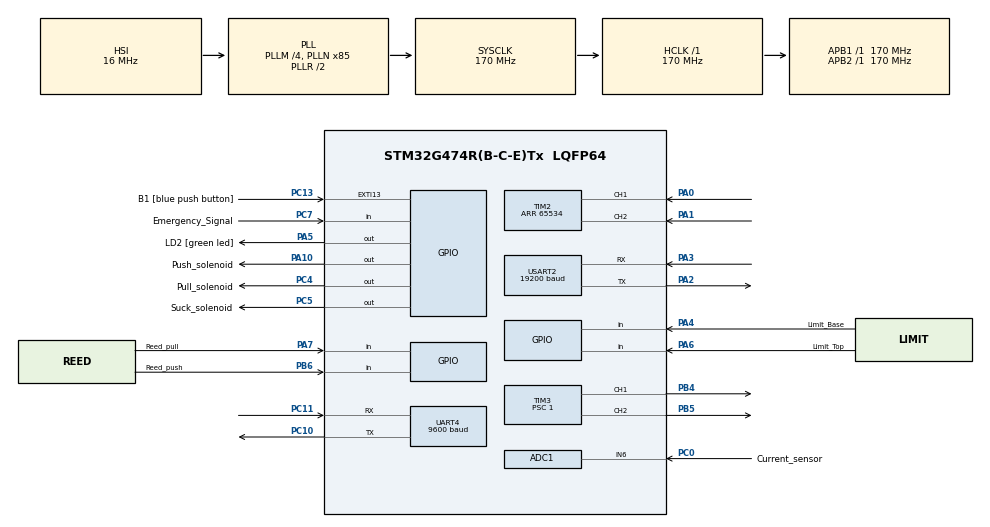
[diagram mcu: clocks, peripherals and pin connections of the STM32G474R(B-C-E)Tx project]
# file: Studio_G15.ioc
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ADC1.Channel-0\#ChannelRegularConversion=ADC_CHANNEL_6
ADC1.NbrOfConversionFlag=1
ADC1.OffsetNumber-0\#ChannelRegularConversion=ADC_OFFSET_NONE
ADC1.Rank-0\#ChannelRegularConversion=1
ADC1.SamplingTime-0\#ChannelRegularConversion=ADC_SAMPLETIME_2CYCLES_5
ADC1.master=1
ARM.CMSIS-DSP.1.15.0.CMSISJjDSP=Source
ARM.CMSIS.6.0.0.CMSISJjCORE=true
Dma.Request0=USART2_TX
Dma.Request1=USART2_RX
Dma.USART2_RX.1.Direction=DMA_PERIPH_TO_MEMORY
Dma.USART2_RX.1.EventEnable=DISABLE
Dma.USART2_RX.1.Instance=DMA1_Channel2
Dma.USART2_RX.1.MemDataAlignment=DMA_MDATAALIGN_BYTE
Dma.USART2_RX.1.MemInc=DMA_MINC_ENABLE
Dma.USART2_RX.1.Mode=DMA_NORMAL
Dma.USART2_RX.1.PeriphDataAlignment=DMA_PDATAALIGN_BYTE
Dma.USART2_RX.1.PeriphInc=DMA_PINC_DISABLE
Dma.USART2_RX.1.Polarity=HAL_DMAMUX_REQ_GEN_RISING
Dma.USART2_RX.1.Priority=DMA_PRIORITY_LOW
Dma.USART2_RX.1.RequestNumber=1
Dma.USART2_RX.1.SignalID=NONE
Dma.USART2_RX.1.SyncEnable=DISABLE
Dma.USART2_RX.1.SyncPolarity=HAL_DMAMUX_SYNC_NO_EVENT
Dma.USART2_RX.1.SyncRequestNumber=1
Dma.USART2_RX.1.SyncSignalID=NONE
Dma.USART2_TX.0.Direction=DMA_MEMORY_TO_PERIPH
Dma.USART2_TX.0.EventEnable=DISABLE
Dma.USART2_TX.0.Instance=DMA1_Channel1
Dma.USART2_TX.0.MemDataAlignment=DMA_MDATAALIGN_BYTE
Dma.USART2_TX.0.MemInc=DMA_MINC_ENABLE
Dma.USART2_TX.0.Mode=DMA_NORMAL
Dma.USART2_TX.0.PeriphDataAlignment=DMA_PDATAALIGN_BYTE
Dma.USART2_TX.0.PeriphInc=DMA_PINC_DISABLE
Dma.USART2_TX.0.Polarity=HAL_DMAMUX_REQ_GEN_RISING
Dma.USART2_TX.0.Priority=DMA_PRIORITY_LOW
Dma.USART2_TX.0.RequestNumber=1
Dma.USART2_TX.0.SignalID=NONE
Dma.USART2_TX.0.SyncEnable=DISABLE
Dma.USART2_TX.0.SyncPolarity=HAL_DMAMUX_SYNC_NO_EVENT
Dma.USART2_TX.0.SyncRequestNumber=1
Dma.USART2_TX.0.SyncSignalID=NONE
Mcu.Family=STM32G4
Mcu.Name=STM32G474R(B-C-E)Tx
Mcu.Package=LQFP64
NVIC.DMA1_Channel1_IRQn=true\:0\:0\:false\:false\:true\:false\:true\:true
NVIC.DMA1_Channel2_IRQn=true\:0\:0\:false\:false\:true\:false\:true\:true
NVIC.EXTI15_10_IRQn=true\:0\:0\:false\:false\:true\:true\:true\:true
NVIC.PriorityGroup=NVIC_PRIORITYGROUP_4
NVIC.TIM1_UP_TIM16_IRQn=true\:0\:0\:false\:false\:true\:true\:true\:true
NVIC.TIM4_IRQn=true\:0\:0\:false\:false\:true\:true\:true\:true
NVIC.TIM5_IRQn=true\:0\:0\:false\:false\:true\:true\:true\:true
NVIC.USART2_IRQn=true\:0\:0\:false\:false\:true\:true\:true\:true
PA0.Signal=S_TIM2_CH1
PA1.Signal=S_TIM2_CH2
PA10.GPIO_Label=Push_solenoid
PA10.Signal=GPIO_Output
PA13.GPIO_Label=T_SWDIO
PA13.Mode=Serial_Wire
PA13.Signal=SYS_JTMS-SWDIO
PA14.GPIO_Label=T_SWCLK
PA14.Mode=Serial_Wire
PA14.Signal=SYS_JTCK-SWCLK
PA2.Mode=Asynchronous
PA2.Signal=USART2_TX
PA3.Mode=Asynchronous
PA3.Signal=USART2_RX
PA4.GPIO_Label=Limit_Base
PA4.GPIO_PuPd=GPIO_PULLDOWN
PA4.Signal=GPIO_Input
PA5.GPIO_Label=LD2 [green led]
PA5.Signal=GPIO_Output
PA6.GPIO_Label=Limit_Top
PA6.GPIO_PuPd=GPIO_PULLDOWN
PA6.Signal=GPIO_Input
PA7.GPIO_Label=Reed_pull
PA7.GPIO_PuPd=GPIO_PULLDOWN
PA7.Signal=GPIO_Input
PB3.GPIO_Label=T_SWO
PB3.Signal=SYS_JTDO-SWO
PB4.Signal=S_TIM3_CH1
PB5.Signal=S_TIM3_CH2
PB6.GPIO_Label=Reed_push
PB6.GPIO_PuPd=GPIO_PULLDOWN
PB6.Signal=GPIO_Input
PC0.GPIO_Label=Current_sensor
PC0.Mode=IN6-Single-Ended
PC0.Signal=ADC1_IN6
PC10.Mode=Asynchronous
PC10.Signal=UART4_TX
PC11.Mode=Asynchronous
PC11.Signal=UART4_RX
PC13.GPIO_Label=B1 [blue push button]
PC13.Signal=GPXTI13
PC14-OSC32_IN.Mode=LSE-External-Oscillator
PC14-OSC32_IN.Signal=RCC_OSC32_IN
PC15-OSC32_OUT.Mode=LSE-External-Oscillator
PC15-OSC32_OUT.Signal=RCC_OSC32_OUT
PC4.GPIO_Label=Pull_solenoid
PC4.Signal=GPIO_Output
PC5.GPIO_Label=Suck_solenoid
PC5.Signal=GPIO_Output
PC7.GPIO_Label=Emergency_Signal
PC7.GPIO_PuPd=GPIO_PULLDOWN
PC7.Signal=GPIO_Input
PF0-OSC_IN.Mode=HSE-External-Oscillator
PF0-OSC_IN.Signal=RCC_OSC_IN
PF1-OSC_OUT.Mode=HSE-External-Oscillator
PF1-OSC_OUT.Signal=RCC_OSC_OUT
ProjectManager.HeapSize=0x200
ProjectManager.StackSize=0x400
ProjectManager.TargetToolchain=STM32CubeIDE
RCC.ADC12Freq_Value=170000000
RCC.ADC345Freq_Value=170000000
RCC.AHBFreq_Value=170000000
RCC.APB1Freq_Value=170000000
RCC.APB1TimFreq_Value=170000000
RCC.APB2Freq_Value=170000000
RCC.APB2TimFreq_Value=170000000
RCC.CortexFreq_Value=170000000
RCC.EXTERNAL_CLOCK_VALUE=12288000
RCC.HCLKFreq_Value=170000000
RCC.HSE_VALUE=24000000
RCC.HSI48_VALUE=48000000
RCC.HSI_VALUE=16000000
RCC.PLLM=RCC_PLLM_DIV4
RCC.PLLN=85
RCC.RTCClockSelection=RCC_RTCCLKSOURCE_LSE
RCC.SYSCLKFreq_VALUE=170000000
RCC.SYSCLKSource=RCC_SYSCLKSOURCE_PLLCLK
RCC.USBFreq_Value=170000000
RCC.VCOOutputFreq_Value=340000000
SH.S_TIM2_CH1.0=TIM2_CH1,Encoder_Interface
SH.S_TIM2_CH2.0=TIM2_CH2,Encoder_Interface
SH.S_TIM3_CH1.0=TIM3_CH1,PWM Generation1 CH1
SH.S_TIM3_CH2.0=TIM3_CH2,PWM Generation2 CH2
TIM16.PeriodNoDither=1145
TIM16.Prescaler=169
TIM2.EncoderMode=TIM_ENCODERMODE_TI12
TIM2.IC1Filter=3
TIM2.IC2Filter=3
TIM2.PeriodNoDither=65534
TIM3.Channel-PWM\ Generation1\ CH1=TIM_CHANNEL_1
TIM3.Channel-PWM\ Generation2\ CH2=TIM_CHANNEL_2
TIM3.PeriodNoDither=42499
TIM3.Prescaler=1
TIM4.PeriodNoDither=50
TIM4.Prescaler=169
TIM5.Prescaler=169
UART4.BaudRate=9600
UART4.OneBitSampling=UART_ONE_BIT_SAMPLE_ENABLE
UART4.RXFIFOThreshold=RXFIFO_THRESHOLD_FULL
USART2.BaudRate=19200
USART2.Parity=PARITY_EVEN
USART2.VirtualMode-Asynchronous=VM_ASYNC
USART2.WordLength=WORDLENGTH_9B
VP_ARM.CMSIS-DSP_VS_CMSISJjDSP_1.15.0_1.15.0.Mode=CMSISJjDSP
VP_ARM.CMSIS_VS_CMSISJjCORE_6.0.0_6.0.0.Mode=CMSISJjCORE
VP_SYS_VS_DBSignals.Mode=DisableDeadBatterySignals
VP_TIM16_VS_ClockSourceINT.Mode=Enable_Timer
VP_TIM16_VS_OPM.Mode=OPM_bit
VP_TIM3_VS_ClockSourceINT.Mode=Internal
VP_TIM4_VS_ClockSourceINT.Mode=Internal
VP_TIM5_VS_ClockSourceINT.Mode=Internal
board=NUCLEO-G474RE

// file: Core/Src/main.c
/* USER CODE BEGIN Header */
/**
  ******************************************************************************
  * @file           : main.c
  * @brief          : Main program body
  ******************************************************************************
  * @attention
  *
  * Copyright (c) 2024 STMicroelectronics.
  * All rights reserved.
  *
  * This software is licensed under terms that can be found in the LICENSE file
  * in the root directory of this software component.
  * If no LICENSE file comes with this software, it is provided AS-IS.
  *
  ******************************************************************************
  */
/* USER CODE END Header */
#include "main.h"

/* USER CODE BEGIN Includes */
#include "arm_math.h"
#include "ModBusRTU.h"
#include "BaseSystem.h"
#include "Kalman.h"
#include "Encoder.h"
#include "Motor.h"
#include "PID_controller.h"
#include "Trapezoidal.h"
#include "PS2.h"

/* USER CODE END Includes */

ADC_HandleTypeDef hadc1;

TIM_HandleTypeDef htim2;
TIM_HandleTypeDef htim3;
TIM_HandleTypeDef htim4;
TIM_HandleTypeDef htim5;
TIM_HandleTypeDef htim16;

UART_HandleTypeDef huart4;
UART_HandleTypeDef huart2;
DMA_HandleTypeDef hdma_usart2_tx;
DMA_HandleTypeDef hdma_usart2_rx;

/* USER CODE BEGIN PV */

// Define some library variable
MOTOR MT;
Trap_Traj Traj;
AMT_Encoder AMT;
PS2_typedef ps2;
PID_struct PID_pos;
PID_struct PID_velo;
BaseStruct base;
ModbusHandleTypedef hmodbus;
KalmanState filtered_velo;
KalmanState filtered_accel;

// Define some variables
extern float temp_pos;								// Reference Position for PID & Trajectory
extern int temp_home;								// State Set Home
extern int temp_cnt;								// State count in base system
extern int fuCount;									// RunJog shelves counter
int emer = 0;										// Emergency state float
uint64_t _micros;									// Microsecond current time
u16u8_t registerFrame[200];							// ModBus Weird thing
float elapsedTime;									// Trajectory Time Reference

// Function here!
uint64_t micros();
void HAL_TIM_PeriodElapsedCallback(TIM_HandleTypeDef *htim);

/* USER CODE END PV */

void SystemClock_Config(void);
static void MX_GPIO_Init(void);
static void MX_DMA_Init(void);
static void MX_TIM2_Init(void);
static void MX_TIM3_Init(void);
static void MX_TIM5_Init(void);
static void MX_UART4_Init(void);
static void MX_TIM4_Init(void);
static void MX_USART2_UART_Init(void);
static void MX_TIM16_Init(void);
static void MX_ADC1_Init(void);

int main(void)
{

  /* MCU Configuration--------------------------------------------------------*/

  /* Reset of all peripherals, Initializes the Flash interface and the Systick. */
  HAL_Init();

  /* Configure the system clock */
  SystemClock_Config();

  /* Initialize all configured peripherals */
  MX_GPIO_Init();
  MX_DMA_Init();
  MX_TIM2_Init();
  MX_TIM3_Init();
  MX_TIM5_Init();
  MX_UART4_Init();
  MX_TIM4_Init();
  MX_USART2_UART_Init();
  MX_TIM16_Init();
  MX_ADC1_Init();
  /* USER CODE BEGIN 2 */
  HAL_TIM_Base_Start(&htim2);								// AMT Encoder
  HAL_TIM_Base_Start(&htim3);								// Motor Output compare
  HAL_TIM_Base_Start_IT(&htim4);							// System Clock control
  HAL_TIM_Base_Start_IT(&htim5);							// Microsecond Function

  // Velocity 450 mm/s
//  float PID_pos_K[3] = {17 ,0.002, 0.0001};
//  float PID_velo_K[3] = {9 ,0.00002, 0.0};

// Initialize ASRS
	AMT_encoder_init(&AMT, &htim2);
	MOTOR_init(&MT, &htim3,TIM_CHANNEL_2, TIM_CHANNEL_1);
	hmodbus.huart = &huart2;
	hmodbus.htim = &htim16;
	hmodbus.slaveAddress = 0x15;
	hmodbus.RegisterSize =200;
	Modbus_init(&hmodbus, registerFrame);
	//--------------------------Initialize Controller Parameter------------------------------------//

	// System Max Velocity and Max Acceleration
	Traject_init(&Traj, 900 , 1500);

	// Constant P I D for Position & Velocity Control
//	float PID_pos_K[3] = {6.5 ,0.0000001, 0.00006};
	float PID_pos_K[3] = {12 ,0.00001, 0.0008};
	float PID_velo_K[3] = {6.5 ,0.0010, 0.00005};
//	float PID_pos_K[3] = {7 ,0.0002, 0.001};
//	float PID_velo_K[3] = {7.0 ,0.0022, 0.0001};
	PID_controller_init(&PID_pos,PID_pos_K[0],PID_pos_K[1],PID_pos_K[2]);
	PID_controller_init(&PID_velo,PID_velo_K[0],PID_velo_K[1],PID_velo_K[3]);

	// Constant Q R for Kalman Filter in Velocity and Acceleration
	kalman_filter_init(&filtered_velo, 0.005,0.99);
	kalman_filter_init(&filtered_accel, 0.002,0.2);

  /* USER CODE END 2 */

  /* Infinite loop */
  while (1)
  {

    /* USER CODE BEGIN 3 */

	  // HeartBeat function 5 Hz
	  static uint64_t timestamps =0;
	  if(HAL_GetTick() > timestamps && emer == 0 ){
		  timestamps =HAL_GetTick() + 100;		//ms
	  	  Heartbeat();
	  }

	  // Feedback to BaseSystem
	  Vacuum();
	  GripperMovement();
	  Modbus_Protocal_Worker();
	  Routine();

	  // Uart Receive Joystick
	  HAL_UART_Receive(&huart4,ps2.ps2RX, 10 ,10);

	  if (base.BaseStatus == 1 && emer == 0){
		  // Set shelve mode
		  SetShelves();
	  }

	  // Emergency Button was triggered
	  emer = (HAL_GPIO_ReadPin(GPIOC, GPIO_PIN_7) == GPIO_PIN_SET) ? 1 : emer;
  }
  /* USER CODE END 3 */
}

void SystemClock_Config(void)
{
  RCC_OscInitTypeDef RCC_OscInitStruct = {0};
  RCC_ClkInitTypeDef RCC_ClkInitStruct = {0};

  /** Configure the main internal regulator output voltage
  */
  HAL_PWREx_ControlVoltageScaling(PWR_REGULATOR_VOLTAGE_SCALE1_BOOST);

  /** Initializes the RCC Oscillators according to the specified parameters
  * in the RCC_OscInitTypeDef structure.
  */
  RCC_OscInitStruct.OscillatorType = RCC_OSCILLATORTYPE_HSI;
  RCC_OscInitStruct.HSIState = RCC_HSI_ON;
  RCC_OscInitStruct.HSICalibrationValue = RCC_HSICALIBRATION_DEFAULT;
  RCC_OscInitStruct.PLL.PLLState = RCC_PLL_ON;
  RCC_OscInitStruct.PLL.PLLSource = RCC_PLLSOURCE_HSI;
  RCC_OscInitStruct.PLL.PLLM = RCC_PLLM_DIV4;
  RCC_OscInitStruct.PLL.PLLN = 85;
  RCC_OscInitStruct.PLL.PLLP = RCC_PLLP_DIV2;
  RCC_OscInitStruct.PLL.PLLQ = RCC_PLLQ_DIV2;
  RCC_OscInitStruct.PLL.PLLR = RCC_PLLR_DIV2;
  if (HAL_RCC_OscConfig(&RCC_OscInitStruct) != HAL_OK)
  {
    Error_Handler();
  }

  /** Initializes the CPU, AHB and APB buses clocks
  */
  RCC_ClkInitStruct.ClockType = RCC_CLOCKTYPE_HCLK|RCC_CLOCKTYPE_SYSCLK
                              |RCC_CLOCKTYPE_PCLK1|RCC_CLOCKTYPE_PCLK2;
  RCC_ClkInitStruct.SYSCLKSource = RCC_SYSCLKSOURCE_PLLCLK;
  RCC_ClkInitStruct.AHBCLKDivider = RCC_SYSCLK_DIV1;
  RCC_ClkInitStruct.APB1CLKDivider = RCC_HCLK_DIV1;
  RCC_ClkInitStruct.APB2CLKDivider = RCC_HCLK_DIV1;

  if (HAL_RCC_ClockConfig(&RCC_ClkInitStruct, FLASH_LATENCY_4) != HAL_OK)
  {
    Error_Handler();
  }
}

static void MX_ADC1_Init(void)
{

  ADC_MultiModeTypeDef multimode = {0};
  ADC_ChannelConfTypeDef sConfig = {0};

  /** Common config
  */
  hadc1.Instance = ADC1;
  hadc1.Init.ClockPrescaler = ADC_CLOCK_SYNC_PCLK_DIV4;
  hadc1.Init.Resolution = ADC_RESOLUTION_12B;
  hadc1.Init.DataAlign = ADC_DATAALIGN_RIGHT;
  hadc1.Init.GainCompensation = 0;
  hadc1.Init.ScanConvMode = ADC_SCAN_DISABLE;
  hadc1.Init.EOCSelection = ADC_EOC_SINGLE_CONV;
  hadc1.Init.LowPowerAutoWait = DISABLE;
  hadc1.Init.ContinuousConvMode = DISABLE;
  hadc1.Init.NbrOfConversion = 1;
  hadc1.Init.DiscontinuousConvMode = DISABLE;
  hadc1.Init.ExternalTrigConv = ADC_SOFTWARE_START;
  hadc1.Init.ExternalTrigConvEdge = ADC_EXTERNALTRIGCONVEDGE_NONE;
  hadc1.Init.DMAContinuousRequests = DISABLE;
  hadc1.Init.Overrun = ADC_OVR_DATA_PRESERVED;
  hadc1.Init.OversamplingMode = DISABLE;
  if (HAL_ADC_Init(&hadc1) != HAL_OK)
  {
    Error_Handler();
  }

  /** Configure the ADC multi-mode
  */
  multimode.Mode = ADC_MODE_INDEPENDENT;
  if (HAL_ADCEx_MultiModeConfigChannel(&hadc1, &multimode) != HAL_OK)
  {
    Error_Handler();
  }

  /** Configure Regular Channel
  */
  sConfig.Channel = ADC_CHANNEL_6;
  sConfig.Rank = ADC_REGULAR_RANK_1;
  sConfig.SamplingTime = ADC_SAMPLETIME_2CYCLES_5;
  sConfig.SingleDiff = ADC_SINGLE_ENDED;
  sConfig.OffsetNumber = ADC_OFFSET_NONE;
  sConfig.Offset = 0;
  if (HAL_ADC_ConfigChannel(&hadc1, &sConfig) != HAL_OK)
  {
    Error_Handler();
  }

}

static void MX_TIM2_Init(void)
{

  TIM_Encoder_InitTypeDef sConfig = {0};
  TIM_MasterConfigTypeDef sMasterConfig = {0};

  htim2.Instance = TIM2;
  htim2.Init.Prescaler = 0;
  htim2.Init.CounterMode = TIM_COUNTERMODE_UP;
  htim2.Init.Period = 65534;
  htim2.Init.ClockDivision = TIM_CLOCKDIVISION_DIV1;
  htim2.Init.AutoReloadPreload = TIM_AUTORELOAD_PRELOAD_DISABLE;
  sConfig.EncoderMode = TIM_ENCODERMODE_TI12;
  sConfig.IC1Polarity = TIM_ICPOLARITY_RISING;
  sConfig.IC1Selection = TIM_ICSELECTION_DIRECTTI;
  sConfig.IC1Prescaler = TIM_ICPSC_DIV1;
  sConfig.IC1Filter = 3;
  sConfig.IC2Polarity = TIM_ICPOLARITY_RISING;
  sConfig.IC2Selection = TIM_ICSELECTION_DIRECTTI;
  sConfig.IC2Prescaler = TIM_ICPSC_DIV1;
  sConfig.IC2Filter = 3;
  if (HAL_TIM_Encoder_Init(&htim2, &sConfig) != HAL_OK)
  {
    Error_Handler();
  }
  sMasterConfig.MasterOutputTrigger = TIM_TRGO_RESET;
  sMasterConfig.MasterSlaveMode = TIM_MASTERSLAVEMODE_DISABLE;
  if (HAL_TIMEx_MasterConfigSynchronization(&htim2, &sMasterConfig) != HAL_OK)
  {
    Error_Handler();
  }

}

static void MX_TIM3_Init(void)
{

  TIM_ClockConfigTypeDef sClockSourceConfig = {0};
  TIM_MasterConfigTypeDef sMasterConfig = {0};
  TIM_OC_InitTypeDef sConfigOC = {0};

  htim3.Instance = TIM3;
  htim3.Init.Prescaler = 1;
  htim3.Init.CounterMode = TIM_COUNTERMODE_UP;
  htim3.Init.Period = 42499;
  htim3.Init.ClockDivision = TIM_CLOCKDIVISION_DIV1;
  htim3.Init.AutoReloadPreload = TIM_AUTORELOAD_PRELOAD_DISABLE;
  if (HAL_TIM_Base_Init(&htim3) != HAL_OK)
  {
    Error_Handler();
  }
  sClockSourceConfig.ClockSource = TIM_CLOCKSOURCE_INTERNAL;
  if (HAL_TIM_ConfigClockSource(&htim3, &sClockSourceConfig) != HAL_OK)
  {
    Error_Handler();
  }
  if (HAL_TIM_PWM_Init(&htim3) != HAL_OK)
  {
    Error_Handler();
  }
  sMasterConfig.MasterOutputTrigger = TIM_TRGO_RESET;
  sMasterConfig.MasterSlaveMode = TIM_MASTERSLAVEMODE_DISABLE;
  if (HAL_TIMEx_MasterConfigSynchronization(&htim3, &sMasterConfig) != HAL_OK)
  {
    Error_Handler();
  }
  sConfigOC.OCMode = TIM_OCMODE_PWM1;
  sConfigOC.Pulse = 0;
  sConfigOC.OCPolarity = TIM_OCPOLARITY_HIGH;
  sConfigOC.OCFastMode = TIM_OCFAST_DISABLE;
  if (HAL_TIM_PWM_ConfigChannel(&htim3, &sConfigOC, TIM_CHANNEL_1) != HAL_OK)
  {
    Error_Handler();
  }
  if (HAL_TIM_PWM_ConfigChannel(&htim3, &sConfigOC, TIM_CHANNEL_2) != HAL_OK)
  {
    Error_Handler();
  }
  HAL_TIM_MspPostInit(&htim3);

}

static void MX_TIM4_Init(void)
{

  TIM_ClockConfigTypeDef sClockSourceConfig = {0};
  TIM_MasterConfigTypeDef sMasterConfig = {0};

  htim4.Instance = TIM4;
  htim4.Init.Prescaler = 169;
  htim4.Init.CounterMode = TIM_COUNTERMODE_UP;
  htim4.Init.Period = 50;
  htim4.Init.ClockDivision = TIM_CLOCKDIVISION_DIV1;
  htim4.Init.AutoReloadPreload = TIM_AUTORELOAD_PRELOAD_DISABLE;
  if (HAL_TIM_Base_Init(&htim4) != HAL_OK)
  {
    Error_Handler();
  }
  sClockSourceConfig.ClockSource = TIM_CLOCKSOURCE_INTERNAL;
  if (HAL_TIM_ConfigClockSource(&htim4, &sClockSourceConfig) != HAL_OK)
  {
    Error_Handler();
  }
  sMasterConfig.MasterOutputTrigger = TIM_TRGO_RESET;
  sMasterConfig.MasterSlaveMode = TIM_MASTERSLAVEMODE_DISABLE;
  if (HAL_TIMEx_MasterConfigSynchronization(&htim4, &sMasterConfig) != HAL_OK)
  {
    Error_Handler();
  }

}

static void MX_TIM5_Init(void)
{

  TIM_ClockConfigTypeDef sClockSourceConfig = {0};
  TIM_MasterConfigTypeDef sMasterConfig = {0};

  htim5.Instance = TIM5;
  htim5.Init.Prescaler = 169;
  htim5.Init.CounterMode = TIM_COUNTERMODE_UP;
  htim5.Init.Period = 4294967295;
  htim5.Init.ClockDivision = TIM_CLOCKDIVISION_DIV1;
  htim5.Init.AutoReloadPreload = TIM_AUTORELOAD_PRELOAD_DISABLE;
  if (HAL_TIM_Base_Init(&htim5) != HAL_OK)
  {
    Error_Handler();
  }
  sClockSourceConfig.ClockSource = TIM_CLOCKSOURCE_INTERNAL;
  if (HAL_TIM_ConfigClockSource(&htim5, &sClockSourceConfig) != HAL_OK)
  {
    Error_Handler();
  }
  sMasterConfig.MasterOutputTrigger = TIM_TRGO_RESET;
  sMasterConfig.MasterSlaveMode = TIM_MASTERSLAVEMODE_DISABLE;
  if (HAL_TIMEx_MasterConfigSynchronization(&htim5, &sMasterConfig) != HAL_OK)
  {
    Error_Handler();
  }

}

static void MX_TIM16_Init(void)
{

  htim16.Instance = TIM16;
  htim16.Init.Prescaler = 169;
  htim16.Init.CounterMode = TIM_COUNTERMODE_UP;
  htim16.Init.Period = 1145;
  htim16.Init.ClockDivision = TIM_CLOCKDIVISION_DIV1;
  htim16.Init.RepetitionCounter = 0;
  htim16.Init.AutoReloadPreload = TIM_AUTORELOAD_PRELOAD_DISABLE;
  if (HAL_TIM_Base_Init(&htim16) != HAL_OK)
  {
    Error_Handler();
  }
  if (HAL_TIM_OnePulse_Init(&htim16, TIM_OPMODE_SINGLE) != HAL_OK)
  {
    Error_Handler();
  }

}

static void MX_UART4_Init(void)
{

  huart4.Instance = UART4;
  huart4.Init.BaudRate = 9600;
  huart4.Init.WordLength = UART_WORDLENGTH_8B;
  huart4.Init.StopBits = UART_STOPBITS_1;
  huart4.Init.Parity = UART_PARITY_NONE;
  huart4.Init.Mode = UART_MODE_TX_RX;
  huart4.Init.HwFlowCtl = UART_HWCONTROL_NONE;
  huart4.Init.OverSampling = UART_OVERSAMPLING_16;
  huart4.Init.OneBitSampling = UART_ONE_BIT_SAMPLE_ENABLE;
  huart4.Init.ClockPrescaler = UART_PRESCALER_DIV1;
  huart4.AdvancedInit.AdvFeatureInit = UART_ADVFEATURE_NO_INIT;
  if (HAL_UART_Init(&huart4) != HAL_OK)
  {
    Error_Handler();
  }
  if (HAL_UARTEx_SetTxFifoThreshold(&huart4, UART_TXFIFO_THRESHOLD_1_8) != HAL_OK)
  {
    Error_Handler();
  }
  if (HAL_UARTEx_SetRxFifoThreshold(&huart4, UART_RXFIFO_THRESHOLD_8_8) != HAL_OK)
  {
    Error_Handler();
  }
  if (HAL_UARTEx_DisableFifoMode(&huart4) != HAL_OK)
  {
    Error_Handler();
  }

}

static void MX_USART2_UART_Init(void)
{

  huart2.Instance = USART2;
  huart2.Init.BaudRate = 19200;
  huart2.Init.WordLength = UART_WORDLENGTH_9B;
  huart2.Init.StopBits = UART_STOPBITS_1;
  huart2.Init.Parity = UART_PARITY_EVEN;
  huart2.Init.Mode = UART_MODE_TX_RX;
  huart2.Init.HwFlowCtl = UART_HWCONTROL_NONE;
  huart2.Init.OverSampling = UART_OVERSAMPLING_16;
  huart2.Init.OneBitSampling = UART_ONE_BIT_SAMPLE_DISABLE;
  huart2.Init.ClockPrescaler = UART_PRESCALER_DIV1;
  huart2.AdvancedInit.AdvFeatureInit = UART_ADVFEATURE_NO_INIT;
  if (HAL_UART_Init(&huart2) != HAL_OK)
  {
    Error_Handler();
  }
  if (HAL_UARTEx_SetTxFifoThreshold(&huart2, UART_TXFIFO_THRESHOLD_1_8) != HAL_OK)
  {
    Error_Handler();
  }
  if (HAL_UARTEx_SetRxFifoThreshold(&huart2, UART_RXFIFO_THRESHOLD_1_8) != HAL_OK)
  {
    Error_Handler();
  }
  if (HAL_UARTEx_DisableFifoMode(&huart2) != HAL_OK)
  {
    Error_Handler();
  }

}

static void MX_DMA_Init(void)
{

  /* DMA controller clock enable */
  __HAL_RCC_DMAMUX1_CLK_ENABLE();
  __HAL_RCC_DMA1_CLK_ENABLE();

  /* DMA interrupt init */
  /* DMA1_Channel1_IRQn interrupt configuration */
  HAL_NVIC_SetPriority(DMA1_Channel1_IRQn, 0, 0);
  HAL_NVIC_EnableIRQ(DMA1_Channel1_IRQn);
  /* DMA1_Channel2_IRQn interrupt configuration */
  HAL_NVIC_SetPriority(DMA1_Channel2_IRQn, 0, 0);
  HAL_NVIC_EnableIRQ(DMA1_Channel2_IRQn);

}

static void MX_GPIO_Init(void)
{
  GPIO_InitTypeDef GPIO_InitStruct = {0};

  /* GPIO Ports Clock Enable */
  __HAL_RCC_GPIOC_CLK_ENABLE();
  __HAL_RCC_GPIOF_CLK_ENABLE();
  __HAL_RCC_GPIOA_CLK_ENABLE();
  __HAL_RCC_GPIOB_CLK_ENABLE();

  /*Configure GPIO pin Output Level */
  HAL_GPIO_WritePin(GPIOA, LD2_Pin|Push_solenoid_Pin, GPIO_PIN_RESET);

  /*Configure GPIO pin Output Level */
  HAL_GPIO_WritePin(GPIOC, Pull_solenoid_Pin|Suck_solenoid_Pin, GPIO_PIN_RESET);

  /*Configure GPIO pin : B1_Pin */
  GPIO_InitStruct.Pin = B1_Pin;
  GPIO_InitStruct.Mode = GPIO_MODE_IT_RISING;
  GPIO_InitStruct.Pull = GPIO_NOPULL;
  HAL_GPIO_Init(B1_GPIO_Port, &GPIO_InitStruct);

  /*Configure GPIO pins : Limit_Base_Pin Limit_Top_Pin Reed_pull_Pin */
  GPIO_InitStruct.Pin = Limit_Base_Pin|Limit_Top_Pin|Reed_pull_Pin;
  GPIO_InitStruct.Mode = GPIO_MODE_INPUT;
  GPIO_InitStruct.Pull = GPIO_PULLDOWN;
  HAL_GPIO_Init(GPIOA, &GPIO_InitStruct);

  /*Configure GPIO pins : LD2_Pin Push_solenoid_Pin */
  GPIO_InitStruct.Pin = LD2_Pin|Push_solenoid_Pin;
  GPIO_InitStruct.Mode = GPIO_MODE_OUTPUT_PP;
  GPIO_InitStruct.Pull = GPIO_NOPULL;
  GPIO_InitStruct.Speed = GPIO_SPEED_FREQ_LOW;
  HAL_GPIO_Init(GPIOA, &GPIO_InitStruct);

  /*Configure GPIO pins : Pull_solenoid_Pin Suck_solenoid_Pin */
  GPIO_InitStruct.Pin = Pull_solenoid_Pin|Suck_solenoid_Pin;
  GPIO_InitStruct.Mode = GPIO_MODE_OUTPUT_PP;
  GPIO_InitStruct.Pull = GPIO_NOPULL;
  GPIO_InitStruct.Speed = GPIO_SPEED_FREQ_LOW;
  HAL_GPIO_Init(GPIOC, &GPIO_InitStruct);

  /*Configure GPIO pin : Emergency_Signal_Pin */
  GPIO_InitStruct.Pin = Emergency_Signal_Pin;
  GPIO_InitStruct.Mode = GPIO_MODE_INPUT;
  GPIO_InitStruct.Pull = GPIO_PULLDOWN;
  HAL_GPIO_Init(Emergency_Signal_GPIO_Port, &GPIO_InitStruct);

  /*Configure GPIO pin : Reed_push_Pin */
  GPIO_InitStruct.Pin = Reed_push_Pin;
  GPIO_InitStruct.Mode = GPIO_MODE_INPUT;
  GPIO_InitStruct.Pull = GPIO_PULLDOWN;
  HAL_GPIO_Init(Reed_push_GPIO_Port, &GPIO_InitStruct);

  /* EXTI interrupt init*/
  HAL_NVIC_SetPriority(EXTI15_10_IRQn, 0, 0);
  HAL_NVIC_EnableIRQ(EXTI15_10_IRQn);

}

/* USER CODE BEGIN 4 */
volatile uint32_t interrupt_counter = 0;			// Interurupt counter

// Timer Interrupt
void HAL_TIM_PeriodElapsedCallback(TIM_HandleTypeDef *htim)
	{
		// Timer 5 Interrupt for Micros()
		if(htim == &htim5){_micros += UINT32_MAX;}

		// Timer 4 Interrupt for System Clock
		if(htim == &htim4){

			interrupt_counter++;

			// For 5 KHz
			//---------------- Check Case & PID & Trajectory ----------------//
			if(interrupt_counter % 4 == 0 && emer == 0){

				// Check Case From Base System
				easyCase();
				switch(base.Base_case){
					case 1:
						base.BaseStatus = 1;
						break;
					case 2:
						base.BaseStatus = 2;
						SetHome();
						break;
					case 4:
						base.BaseStatus = (base.runJogMode == 0) ? 4 : ((base.runJogMode == 1) ? 8 : base.BaseStatus);
						RunJog();
						break;
					case 8:
						base.BaseStatus = 16;
						RunPoint();
						break;
					default :
						base.BaseStatus = 0;
						if(temp_home != 0){
							Holding_position();
						}
						else{
							base.MotorHome = 0;
						}
				}

				// Reed Switch Status
				int pinCombination = (HAL_GPIO_ReadPin(GPIOB, GPIO_PIN_6) << 1) | HAL_GPIO_ReadPin(GPIOA, GPIO_PIN_7);
				switch(pinCombination) {
					case 2: // Binary 10: B is SET, A is RESET
						base.ReedStatus = 0b0001;
						break;
					case 1: // Binary 01: B is RESET, A is SET
						base.ReedStatus = 0b0010;
						break;
					default:
						base.ReedStatus = 0b0000;
				}

				// Coarse Step Joy
				if (ps2.mode == 1 && emer == 0 && base.ShelveMode == 1) {base.MotorHome = (ps2.pwmOut < 0) ? 0 : ps2.pwmOut;}
				// Fine Step Joy
				if (ps2.mode == 2 && emer == 0 && base.ShelveMode == 1) {
				    PID_controller_cascade(&PID_pos, &PID_velo, &AMT, ps2.PIDPos);
				    base.MotorHome = PID_velo.out;
				}
			}

			// For 2 kHz
			//---------------------------For control PWM---------------------------//
			if(interrupt_counter % 10 == 0 && emer == 0){
				MOTOR_set_duty(&MT, base.MotorHome);
			}
			else if(emer == 1){
				MOTOR_set_duty(&MT, 0);
				base.MotorHome = 0;

				if(ps2.ps2RX[0] == 78){
					emer = 0;
					AMT.Linear_Position = 0;
					PID_pos.out = 0;
					PID_velo.out = 0;
					Traj.currentPosition = AMT.Linear_Position;
					temp_pos = 0;
					temp_home = 0;
					temp_cnt = 0;
					base.MotorHome = 0;
					fuCount = 0;
					Traj.currentAcceleration = 0.0f;
					base.BaseStatus = 0;
					registerFrame[0x01].U16 = 0;
					registerFrame[0x10].U16 = base.BaseStatus;
				}
			}

			// For 1 kHz
			//----------------------For AMT Encoder------------------------//
			if(interrupt_counter % 20 == 0){
			    AMT_encoder_update(&AMT, &htim2, micros());}
		}
	}

uint64_t micros(){return __HAL_TIM_GET_COUNTER(&htim5)+_micros;}

/* USER CODE END 4 */

void Error_Handler(void)
{
  __disable_irq();
  while (1)
  {
  }
}
